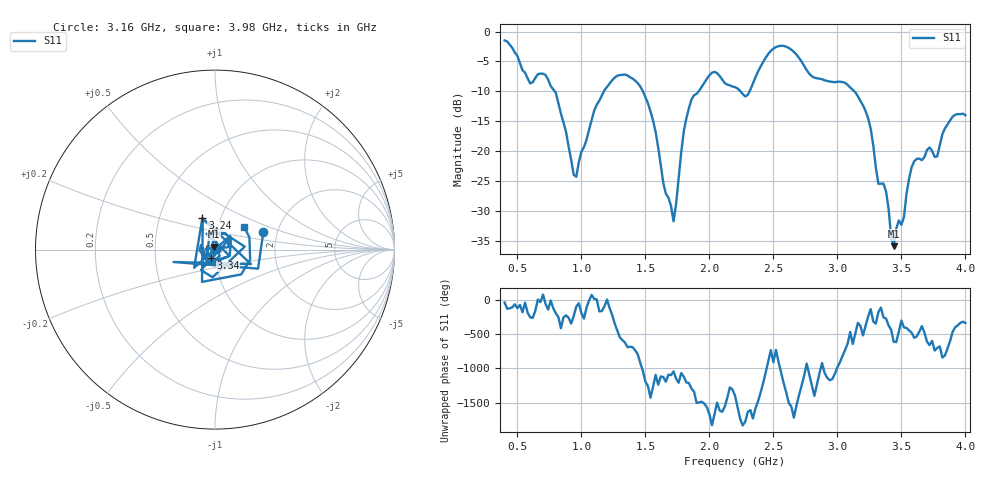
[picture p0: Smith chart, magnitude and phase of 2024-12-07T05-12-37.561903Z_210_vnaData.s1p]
!Created with skrf (http://scikit-rf.org).
# Hz S RI R 50.0
!freq ReS11 ImS11
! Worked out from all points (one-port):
!   181 points, 400 MHz to 4 GHz, reference 50 ohm
!   lowest |S11| = -35.9 dB at 3.44 GHz (marker M1), VSWR 1.03, Z = 49.6 + j1.54 ohm
!   |S11| at or under -10 dB: 791.3 MHz to 1.176 GHz (384.8 MHz wide, 39.1 % of centre); 1.48 GHz to 1.917 GHz (436.4 MHz wide, 25.7 % of centre); 3.132 GHz to end of sweep (the widest 3 of 4)
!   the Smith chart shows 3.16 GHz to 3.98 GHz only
!   S11 on the Smith chart (normalised r, x): 3.16 GHz: 1.69, +0.36; 3.24 GHz: 0.82, +0.30; 3.34 GHz: 0.95, -0.09; 3.98 GHz: 1.34, +0.35
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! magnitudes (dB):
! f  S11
! 400 MHz  -1.5
! 600 MHz  -8.7
! 720 MHz  -7.3
! 860 MHz  -15.2
! 960 MHz  -24.3
! 1.1 GHz  -13.2
! 1.3 GHz  -7.3
! 1.52 GHz  -12.0
! 1.72 GHz  -31.8
! 1.76 GHz  -24.5
! 1.8 GHz  -16.7
! 1.88 GHz  -10.7
! 2.04 GHz  -6.7
! 2.2 GHz  -9.3
! 2.3 GHz  -10.6
! 2.52 GHz  -2.6
! 2.66 GHz  -3.4
! 3.1 GHz  -9.4
! 3.16 GHz  -10.8
! 3.24 GHz  -14.5
! 3.32 GHz  -25.5
! 3.34 GHz  -25.5
! 3.38 GHz  -26.8
! 3.44 GHz  -35.9
! 3.52 GHz  -31.0
! 3.56 GHz  -24.6
! 3.98 GHz  -13.7
! 4 GHz  -14.0
